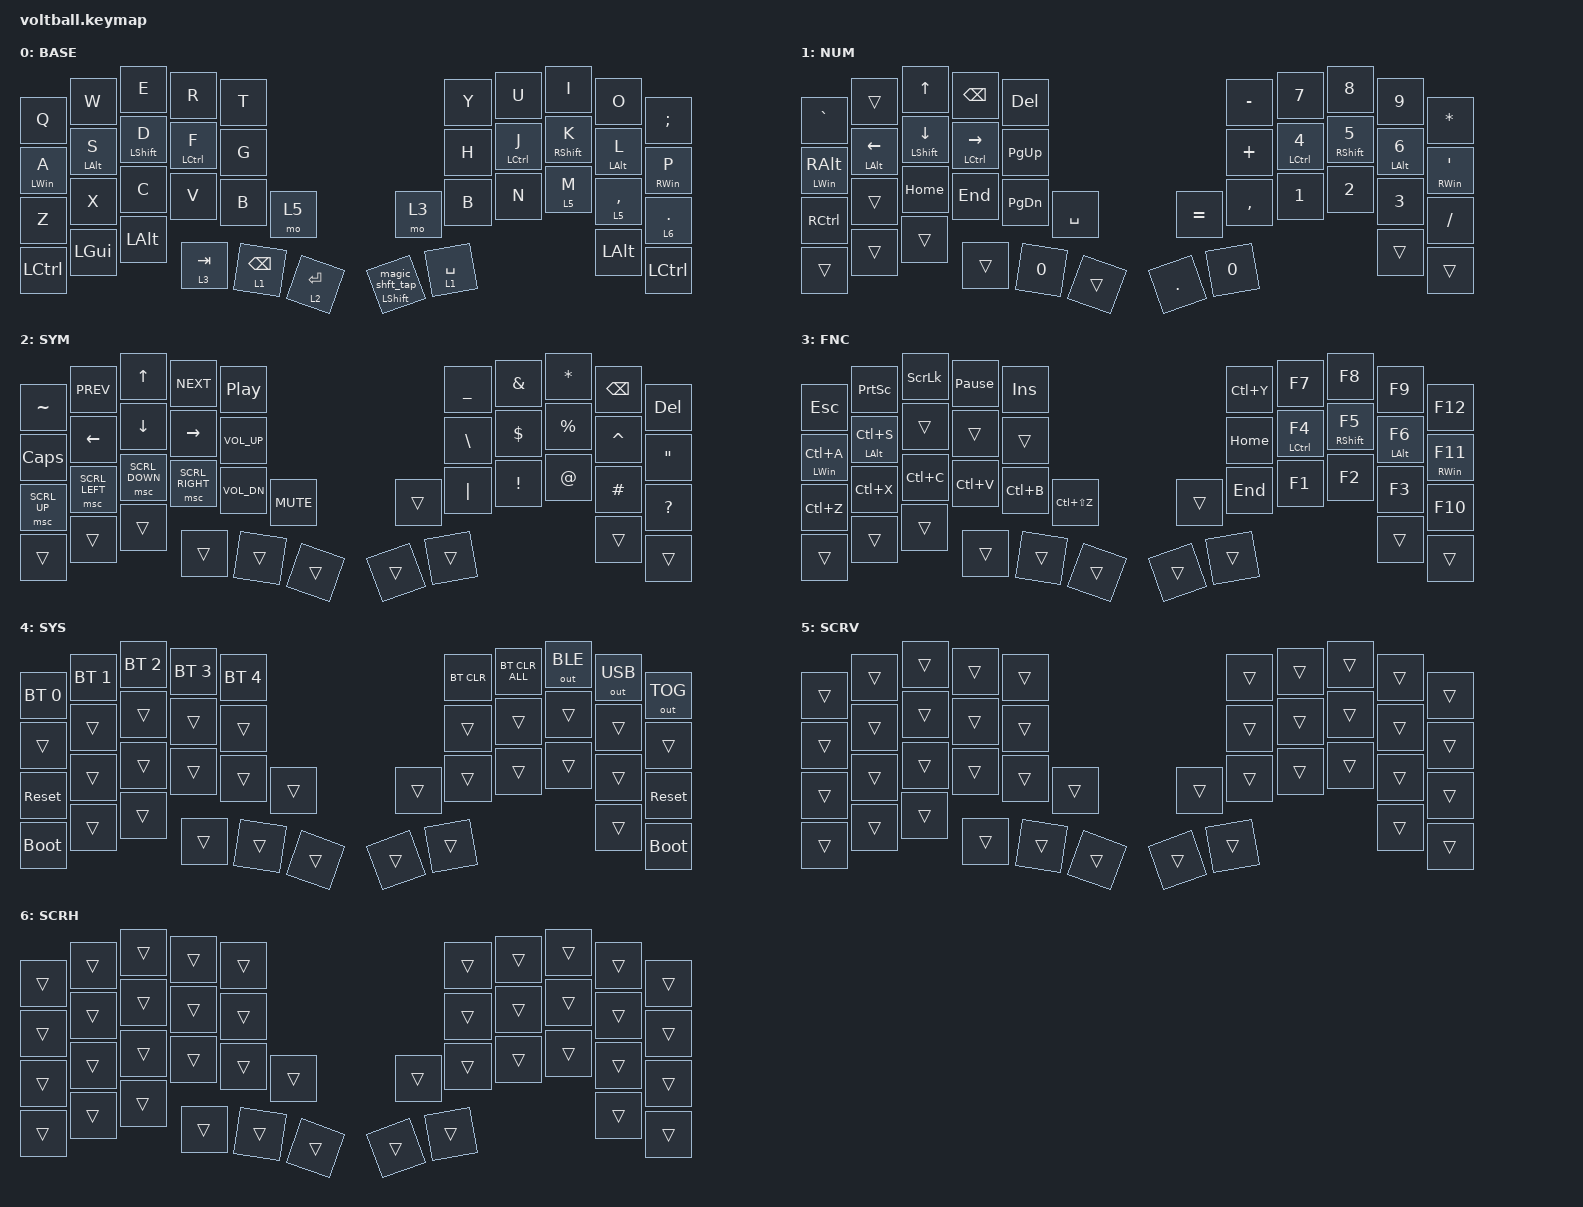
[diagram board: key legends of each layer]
/*
 * SPDX-License-Identifier: MIT
 */

#include <input/processors.dtsi>
#include <dt-bindings/zmk/input_transform.h>
#include <zephyr/dt-bindings/input/input-event-codes.h>
#include <behaviors.dtsi>
#include <dt-bindings/zmk/bt.h>
#include <dt-bindings/zmk/keys.h>
#include <dt-bindings/zmk/outputs.h>
#include <dt-bindings/zmk/pointing.h>

&lt {
    tapping-term-ms = <300>;
    quick-tap-ms = <180>;
};

/ {
    combos {
        compatible = "zmk,combos";

        combo_lpar {
            bindings = <&kp LPAR>;
            key-positions = <2 3>;
        };

        combo_rpar {
            bindings = <&kp RPAR>;
            key-positions = <6 7>;
        };

        combo_mclk {
            bindings = <&mkp MCLK>;
            key-positions = <29 30>;
        };

        combo_lclk {
            bindings = <&mkp LCLK>;
            key-positions = <29 17>;
            timeout-ms = <50>;
            require-prior-idle-ms = <100>;
            slow-release;
        };

        combo_rclk {
            bindings = <&mkp RCLK>;
            key-positions = <18 30>;
            timeout-ms = <50>;
            require-prior-idle-ms = <100>;
            slow-release;
        };

        combo_bspc {
            bindings = <&kp BSPC>;
            key-positions = <9 19>;
            timeout-ms = <50>;
            require-prior-idle-ms = <100>;
            slow-release;
        };

        combo_prev {
            bindings = <&mkp MB4>;
            key-positions = <16 28>;
            timeout-ms = <50>;
            require-prior-idle-ms = <100>;
            slow-release;
        };

        combo_next {
            bindings = <&mkp MB5>;
            key-positions = <15 27>;
            timeout-ms = <50>;
            require-prior-idle-ms = <100>;
            slow-release;
        };

        combo_undo {
            bindings = <&kp LC(Z)>;
            key-positions = <20 10>;
            timeout-ms = <50>;
            require-prior-idle-ms = <100>;
        };

        combo_cut {
            bindings = <&kp LC(X)>;
            key-positions = <21 11>;
            timeout-ms = <50>;
            require-prior-idle-ms = <100>;
        };

        combo_copy {
            bindings = <&kp LC(C)>;
            key-positions = <22 12>;
            timeout-ms = <50>;
            require-prior-idle-ms = <100>;
        };

        combo_paste {
            bindings = <&kp LC(V)>;
            key-positions = <23 13>;
            timeout-ms = <50>;
            require-prior-idle-ms = <100>;
        };

        combo_esc {
            bindings = <&kp ESC>;
            key-positions = <0 1>;
            timeout-ms = <50>;
            require-prior-idle-ms = <100>;
        };

        combo_enter {
            bindings = <&kp ENTER>;
            key-positions = <19 31>;
            timeout-ms = <50>;
            require-prior-idle-ms = <100>;
        };

        combo_sym {
            bindings = <&mo 2>;
            key-positions = <38 39>;
            timeout-ms = <50>;
            require-prior-idle-ms = <100>;
        };

        combo_hanja {
            bindings = <&kp RCTRL>;
            key-positions = <17 19>;
            timeout-ms = <50>;
            require-prior-idle-ms = <100>;
        };

        combo_lang {
            bindings = <&kp RALT>;
            key-positions = <16 18>;
            timeout-ms = <50>;
            require-prior-idle-ms = <60>;
            layers = <0>;
        };

        combo_lbkt {
            bindings = <&kp LBKT>;
            key-positions = <3 4>;
        };

        combo_rbkt {
            bindings = <&kp RBKT>;
            key-positions = <6 5>;
        };
    };

    behaviors {
        hmr: homerow_right_mods {
            compatible = "zmk,behavior-hold-tap";
            label = "HOMEROW_RIGHT_MODS";
            bindings = <&kp>, <&kp>;

            #binding-cells = <2>;
            tapping-term-ms = <300>;
            quick-tap-ms = <175>;
            require-prior-idle-ms = <200>;
            flavor = "tap-preferred";
            hold-trigger-on-release;
            hold-trigger-key-positions = <0 1 2 3 4 14 24 0 1 3 10 11 12 13 21 22 23 20 35 36 37 38 39>;
        };

        hml: homerow_left_mods {
            compatible = "zmk,behavior-hold-tap";
            label = "HOMEROW_LEFT_MODS";
            bindings = <&kp>, <&kp>;

            #binding-cells = <2>;
            tapping-term-ms = <300>;
            quick-tap-ms = <175>;
            require-prior-idle-ms = <200>;
            flavor = "tap-preferred";
            hold-trigger-on-release;
            hold-trigger-key-positions = <5 6 7 8 9 15 16 17 18 19 27 28 29 30 31 35 36 37 38 39>;
        };

        sk_shft: sk_shft {
            compatible = "zmk,behavior-sticky-key";
            label = "SK_SHFT";
            bindings = <&kp>;
            #binding-cells = <1>;
            release-after-ms = <1000>;
            quick-release;
        };

        magic_shft_tap: magic_shft_tap {
            compatible = "zmk,behavior-mod-morph";
            label = "MAGIC_SHFT_TAP";
            bindings = <&sk_shft LSHFT>, <&caps_word>;

            #binding-cells = <0>;
            mods = <(MOD_LSFT)>;
        };

        magic_shft: magic_shft {
            compatible = "zmk,behavior-hold-tap";
            label = "MAGIC_SHFT";
            bindings = <&kp>, <&magic_shft_tap>;

            #binding-cells = <2>;
            flavor = "balanced";
            tapping-term-ms = <200>;
            quick-tap-ms = <150>;
        };

        ltq: ltq {
            compatible = "zmk,behavior-hold-tap";
            label = "LTQ";
            bindings = <&mo>, <&kp>;

            #binding-cells = <2>;
            tapping-term-ms = <200>;
            quick-tap-ms = <175>;
            flavor = "balanced";
        };
    };

    keymap {
        compatible = "zmk,keymap";

        Default_layer {
            bindings = <
&kp Q        &kp W        &kp E         &kp R         &kp T                                               &kp Y         &kp U         &kp I         &kp O         &kp SEMI
&hml LWIN A  &hml LALT S  &hml LSHFT D  &hml LCTRL F  &kp G                                               &kp H         &hmr LCTRL J  &hmr RSHFT K  &hmr LALT L   &hmr RWIN P
&kp Z        &kp X        &kp C         &kp V         &kp B        &mo 5             &mo 3                &kp B         &kp N         &ltq 5 M      &ltq 5 COMMA  &ltq 6 DOT
&kp LCTRL    &kp LGUI     &kp LALT      &ltq 3 TAB    &ltq 1 BSPC  &ltq 2 ENTER      &magic_shft LSHFT 0  &ltq 1 SPACE                              &kp LALT      &kp LCTRL
            >;

            display-name = "BASE";
        };

        Num_layer {
            bindings = <
&kp GRAVE       &trans          &kp UP           &kp BSPC          &kp DEL                              &kp MINUS  &kp N7         &kp N8         &kp N9        &kp ASTRK
&hml LWIN RALT  &hml LALT LEFT  &hml LSHFT DOWN  &hml LCTRL RIGHT  &kp PG_UP                            &kp PLUS   &hmr LCTRL N4  &hmr RSHFT N5  &hmr LALT N6  &hmr RWIN SQT
&kp RCTRL       &trans          &kp HOME         &kp END           &kp PG_DN  &kp SPACE      &kp EQUAL  &kp COMMA  &kp N1         &kp N2         &kp N3        &kp SLASH
&trans          &trans          &trans           &trans            &kp N0     &trans         &kp DOT    &kp N0                                   &trans        &trans
            >;

            display-name = "NUM";
        };

        Sym_layer {
            bindings = <
&kp TILDE     &kp C_PREV      &kp UP          &kp C_NEXT       &kp C_PLAY_PAUSE                          &kp UNDER  &kp AMPS  &kp ASTRK  &kp BSPC   &kp DEL
&kp CAPS      &kp LEFT        &kp DOWN        &kp RIGHT        &kp C_VOL_UP                              &kp BSLH   &kp DLLR  &kp PRCNT  &kp CARET  &kp DQT
&msc SCRL_UP  &msc SCRL_LEFT  &msc SCRL_DOWN  &msc SCRL_RIGHT  &kp C_VOL_DN      &kp K_MUTE      &trans  &kp PIPE   &kp EXCL  &kp AT     &kp HASH   &kp QMARK
&trans        &trans          &trans          &trans           &trans            &trans          &trans  &trans                          &trans     &trans
            >;

            display-name = "SYM";
        };

        Fnc_layer {
            bindings = <
&kp ESC          &kp PRINTSCREEN  &kp SCROLLLOCK  &kp PAUSE_BREAK  &kp INS                               &kp LC(Y)  &kp F7         &kp F8         &kp F9        &kp F12
&hml LWIN LC(A)  &hml LALT LC(S)  &trans          &trans           &trans                                &kp HOME   &hmr LCTRL F4  &hmr RSHFT F5  &hmr LALT F6  &hmr RWIN F11
&kp LC(Z)        &kp LC(X)        &kp LC(C)       &kp LC(V)        &kp LC(B)  &kp LC(LS(Z))      &trans  &kp END    &kp F1         &kp F2         &kp F3        &kp F10
&trans           &trans           &trans          &trans           &trans     &trans             &trans  &trans                                   &trans        &trans
            >;

            display-name = "FNC";
        };

        Sys_layer {
            bindings = <
&bt BT_SEL 0  &bt BT_SEL 1  &bt BT_SEL 2  &bt BT_SEL 3  &bt BT_SEL 4                      &bt BT_CLR  &bt BT_CLR_ALL  &out OUT_BLE  &out OUT_USB  &out OUT_TOG
&trans        &trans        &trans        &trans        &trans                            &trans      &trans          &trans        &trans        &trans
&sys_reset    &trans        &trans        &trans        &trans        &trans      &trans  &trans      &trans          &trans        &trans        &sys_reset
&bootloader   &trans        &trans        &trans        &trans        &trans      &trans  &trans                                    &trans        &bootloader
            >;

            display-name = "SYS";
        };

        Scrv_layer {
            bindings = <
&trans  &trans  &trans  &trans  &trans                      &trans  &trans  &trans  &trans  &trans
&trans  &trans  &trans  &trans  &trans                      &trans  &trans  &trans  &trans  &trans
&trans  &trans  &trans  &trans  &trans  &trans      &trans  &trans  &trans  &trans  &trans  &trans
&trans  &trans  &trans  &trans  &trans  &trans      &trans  &trans                  &trans  &trans
            >;

            label = "SCRV";
        };

        Scrh_layer {
            bindings = <
&trans  &trans  &trans  &trans  &trans                      &trans  &trans  &trans  &trans  &trans
&trans  &trans  &trans  &trans  &trans                      &trans  &trans  &trans  &trans  &trans
&trans  &trans  &trans  &trans  &trans  &trans      &trans  &trans  &trans  &trans  &trans  &trans
&trans  &trans  &trans  &trans  &trans  &trans      &trans  &trans                  &trans  &trans
            >;

            label = "SCRH";
        };
    };

    conditional_layers {
        compatible = "zmk,conditional-layers";

        SYS_LAYER {
            if-layers = <1 3>;
            then-layer = <4>;
        };
    };
};
